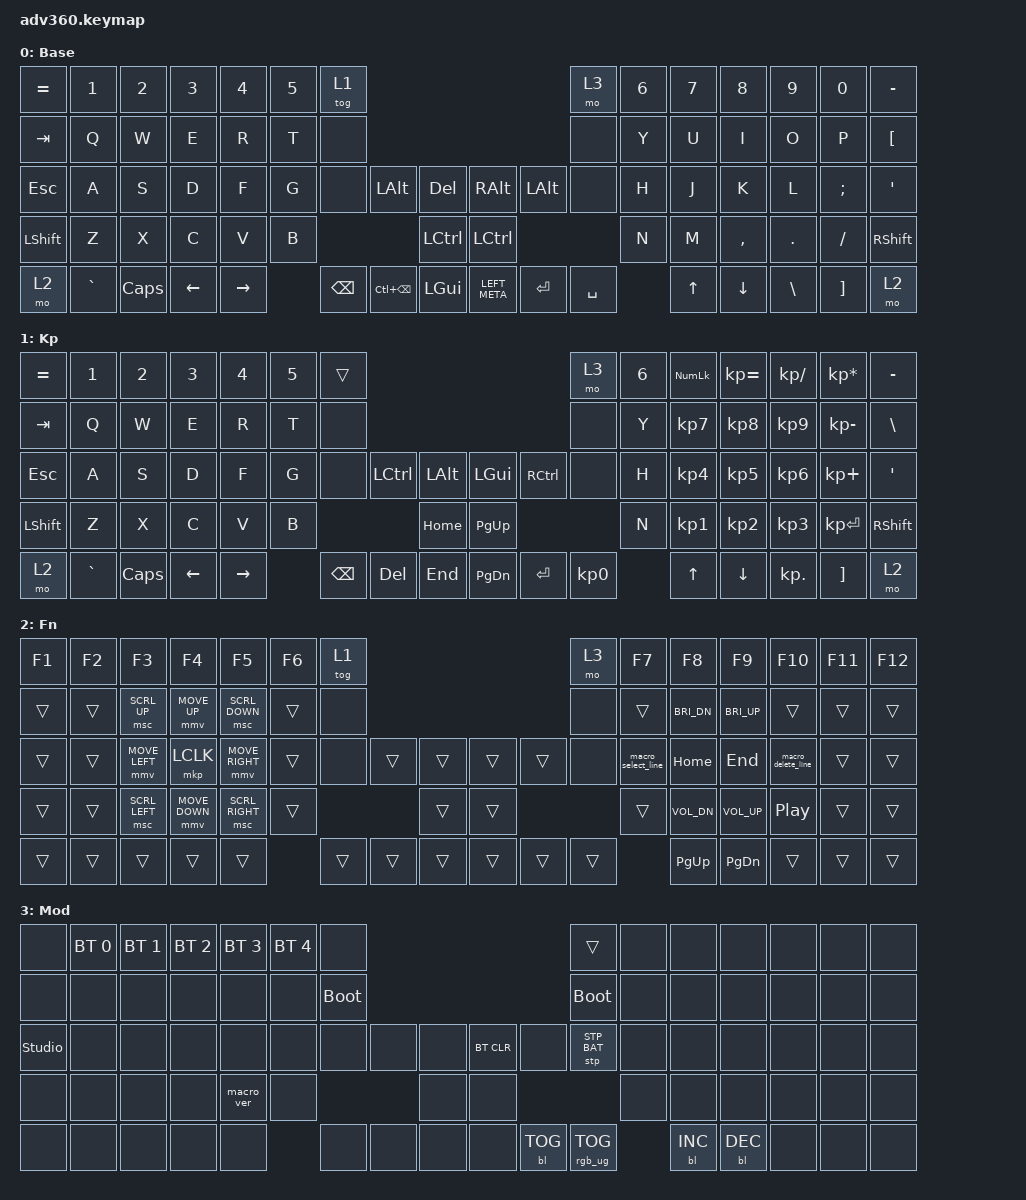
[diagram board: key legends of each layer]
#include <dt-bindings/zmk/stp.h>
#include <dt-bindings/zmk/mouse.h>
#include <behaviors.dtsi>
#include <dt-bindings/zmk/backlight.h>
#include <dt-bindings/zmk/bt.h>
#include <dt-bindings/zmk/keys.h>
#include <dt-bindings/zmk/pointing.h>
#include <dt-bindings/zmk/rgb.h>

/ {
    behaviors {
        #include "macros.dtsi"
      #include "version.dtsi"

        hml: homerow_mods_left {
            compatible = "zmk,behavior-hold-tap";
            label = "HOMEROW_MODS_LEFT";
            #binding-cells = <2>;
            tapping-term-ms = <280>;
            quick-tap-ms = <175>;
            require-prior-idle-ms = <150>;
            flavor = "balanced";
            bindings = <&kp>, <&kp>;

            hold-trigger-on-release;

            // right-hand keys only: a left mod only "holds" when combined
            // with a key pressed on the opposite hand, so same-hand rolls
            // on the left side always resolve instantly as taps.

            hold-trigger-key-positions = <7 8 9 10 11 12 13 21 22 23 24 25 26 27 37 38 39 40 41 42 43 44 45 53 54 55 56 57 58 59 68 69 70 71 72 73 74 75>;
        };

        hmr: homerow_mods_right {
            compatible = "zmk,behavior-hold-tap";
            label = "HOMEROW_MODS_RIGHT";
            #binding-cells = <2>;
            tapping-term-ms = <280>;
            quick-tap-ms = <175>;
            require-prior-idle-ms = <150>;
            flavor = "balanced";
            bindings = <&kp>, <&kp>;

            hold-trigger-on-release;

            // mirror of hml: left-hand keys only.

            hold-trigger-key-positions = <0 1 2 3 4 5 6 14 15 16 17 18 19 20 28 29 30 31 32 33 34 35 36 46 47 48 49 50 51 52 60 61 62 63 64 65 66 67>;
        };
    };

    keymap {
        compatible = "zmk,keymap";

        default_layer {
            display-name = "Base";
            bindings = <
&kp EQUAL  &kp N1     &kp N2    &kp N3    &kp N4     &kp N5  &tog 1                                                                         &mo 3      &kp N6  &kp N7  &kp N8     &kp N9         &kp N0    &kp MINUS
&kp TAB    &kp Q      &kp W     &kp E     &kp R      &kp T   &none                                                                          &none      &kp Y   &kp U   &kp I      &kp O          &kp P     &kp LEFT_BRACKET
&kp ESC    &kp A      &kp S     &kp D     &kp F      &kp G   &none     &kp LEFT_ALT       &kp DELETE        &kp RIGHT_ALT     &kp LEFT_ALT  &none      &kp H   &kp J   &kp K      &kp L          &kp SEMI  &kp SQT
&kp LSHFT  &kp Z      &kp X     &kp C     &kp V      &kp B                                &kp LCTRL         &kp LEFT_CONTROL                           &kp N   &kp M   &kp COMMA  &kp DOT        &kp FSLH  &kp RSHFT
&mo 2      &kp GRAVE  &kp CAPS  &kp LEFT  &kp RIGHT          &kp BSPC  &kp LC(BACKSPACE)  &kp LEFT_GUI      &kp LEFT_META     &kp ENTER     &kp SPACE          &kp UP  &kp DOWN   &kp BACKSLASH  &kp RBKT  &mo 2
            >;
        };

        keypad {
            display-name = "Kp";
            bindings = <
&kp EQUAL  &kp N1     &kp N2    &kp N3    &kp N4     &kp N5  &trans                                                   &mo 3      &kp N6  &kp KP_NUM  &kp KP_EQUAL  &kp KP_DIVIDE  &kp KP_MULTIPLY  &kp MINUS
&kp TAB    &kp Q      &kp W     &kp E     &kp R      &kp T   &none                                                    &none      &kp Y   &kp KP_N7   &kp KP_N8     &kp KP_N9      &kp KP_MINUS     &kp BSLH
&kp ESC    &kp A      &kp S     &kp D     &kp F      &kp G   &none     &kp LCTRL  &kp LALT      &kp LGUI   &kp RCTRL  &none      &kp H   &kp KP_N4   &kp KP_N5     &kp KP_N6      &kp KP_PLUS      &kp SQT
&kp LSHFT  &kp Z      &kp X     &kp C     &kp V      &kp B                        &kp HOME      &kp PG_UP                        &kp N   &kp KP_N1   &kp KP_N2     &kp KP_N3      &kp KP_ENTER     &kp RSHFT
&mo 2      &kp GRAVE  &kp CAPS  &kp LEFT  &kp RIGHT          &kp BSPC  &kp DEL    &kp END       &kp PG_DN  &kp ENTER  &kp KP_N0          &kp UP      &kp DOWN      &kp KP_DOT     &kp RBKT         &mo 2
            >;
        };

        fn {
            display-name = "Fn";
            bindings = <
&kp F1  &kp F2  &kp F3          &kp F4          &kp F5           &kp F6  &tog 1                                      &mo 3   &kp F7              &kp F8        &kp F9         &kp F10             &kp F11  &kp F12
&trans  &trans  &msc SCRL_UP    &mmv MOVE_UP    &msc SCRL_DOWN   &trans  &none                                       &none   &trans              &kp C_BRI_DN  &kp C_BRI_UP   &trans              &trans   &trans
&trans  &trans  &mmv MOVE_LEFT  &mkp LCLK       &mmv MOVE_RIGHT  &trans  &none   &trans  &trans      &trans  &trans  &none   &macro_select_line  &kp HOME      &kp END        &macro_delete_line  &trans   &trans
&trans  &trans  &msc SCRL_LEFT  &mmv MOVE_DOWN  &msc SCRL_RIGHT  &trans                  &trans      &trans                  &trans              &kp C_VOL_DN  &kp C_VOL_UP   &kp C_PLAY_PAUSE    &trans   &trans
&trans  &trans  &trans          &trans          &trans                   &trans  &trans  &trans      &trans  &trans  &trans                      &kp PAGE_UP   &kp PAGE_DOWN  &trans              &trans   &trans
            >;
        };

        mod {
            display-name = "Mod";
            bindings = <
&none           &bt BT_SEL 0  &bt BT_SEL 1  &bt BT_SEL 2  &bt BT_SEL 3  &bt BT_SEL 4  &none                                                  &trans           &none  &none       &none       &none  &none  &none
&none           &none         &none         &none         &none         &none         &bootloader                                            &bootloader      &none  &none       &none       &none  &none  &none
&studio_unlock  &none         &none         &none         &none         &none         &none        &none  &none      &bt BT_CLR  &none       &stp STP_BAT     &none  &none       &none       &none  &none  &none
&none           &none         &none         &none         &macro_ver    &none                             &none      &none                                    &none  &none       &none       &none  &none  &none
&none           &none         &none         &none         &none                       &none        &none  &none      &none       &bl BL_TOG  &rgb_ug RGB_TOG         &bl BL_INC  &bl BL_DEC  &none  &none  &none
            >;
        };

        extra1 {
            display-name = "Red";
            status = "reserved";
        };

        extra2 {
            display-name = "Purple";
            status = "reserved";
        };

        extra3 {
            display-name = "Cyan";
            status = "reserved";
        };

        extra4 {
            display-name = "Yellow";
            status = "reserved";
        };
    };
};
